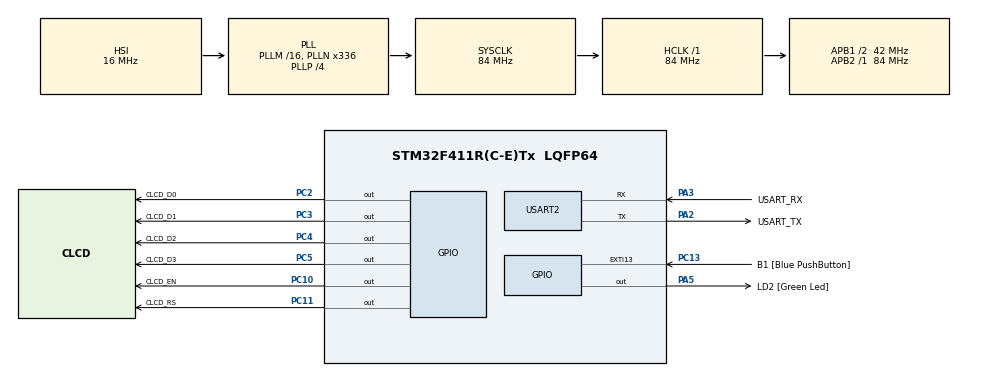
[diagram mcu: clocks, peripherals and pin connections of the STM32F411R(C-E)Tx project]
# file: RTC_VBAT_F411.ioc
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Mcu.Family=STM32F4
Mcu.Name=STM32F411R(C-E)Tx
Mcu.Package=LQFP64
NVIC.PriorityGroup=NVIC_PRIORITYGROUP_0
PA13.GPIO_Label=TMS
PA13.Mode=Serial_Wire
PA13.Signal=SYS_JTMS-SWDIO
PA14.GPIO_Label=TCK
PA14.Mode=Serial_Wire
PA14.Signal=SYS_JTCK-SWCLK
PA2.GPIO_Label=USART_TX
PA2.Mode=Asynchronous
PA2.Signal=USART2_TX
PA3.GPIO_Label=USART_RX
PA3.Mode=Asynchronous
PA3.Signal=USART2_RX
PA5.GPIO_Label=LD2 [Green Led]
PA5.Signal=GPIO_Output
PB3.GPIO_Label=SWO
PB3.Signal=SYS_JTDO-SWO
PC10.GPIO_Label=CLCD_EN
PC10.Signal=GPIO_Output
PC11.GPIO_Label=CLCD_RS
PC11.Signal=GPIO_Output
PC13-ANTI_TAMP.GPIO_Label=B1 [Blue PushButton]
PC13-ANTI_TAMP.GPIO_ModeDefaultEXTI=GPIO_MODE_IT_FALLING
PC13-ANTI_TAMP.Signal=GPXTI13
PC14-OSC32_IN.Mode=LSE-External-Oscillator
PC14-OSC32_IN.Signal=RCC_OSC32_IN
PC15-OSC32_OUT.Mode=LSE-External-Oscillator
PC15-OSC32_OUT.Signal=RCC_OSC32_OUT
PC2.GPIO_Label=CLCD_D0
PC2.Signal=GPIO_Output
PC3.GPIO_Label=CLCD_D1
PC3.Signal=GPIO_Output
PC4.GPIO_Label=CLCD_D2
PC4.Signal=GPIO_Output
PC5.GPIO_Label=CLCD_D3
PC5.Signal=GPIO_Output
PH0\ -\ OSC_IN.Signal=RCC_OSC_IN
PH1\ -\ OSC_OUT.Signal=RCC_OSC_OUT
ProjectManager.HeapSize=0x200
ProjectManager.StackSize=0x400
ProjectManager.TargetToolchain=STM32CubeIDE
RCC.48MHZClocksFreq_Value=84000000
RCC.AHBFreq_Value=84000000
RCC.APB1CLKDivider=RCC_HCLK_DIV2
RCC.APB1Freq_Value=42000000
RCC.APB1TimFreq_Value=84000000
RCC.APB2Freq_Value=84000000
RCC.APB2TimFreq_Value=84000000
RCC.CortexFreq_Value=84000000
RCC.FLatency-AdvancedSettings=FLASH_LATENCY_2
RCC.HCLKFreq_Value=84000000
RCC.HSE_VALUE=8000000
RCC.HSI_VALUE=16000000
RCC.PLLN=336
RCC.PLLP=RCC_PLLP_DIV4
RCC.RCC_RTC_Clock_Source=RCC_RTCCLKSOURCE_LSE
RCC.SYSCLKFreq_VALUE=84000000
RCC.SYSCLKSource=RCC_SYSCLKSOURCE_PLLCLK
RCC.VCOOutputFreq_Value=336000000
RTC.Date=22
RTC.Month=RTC_MONTH_DECEMBER
RTC.WeekDay=RTC_WEEKDAY_TUESDAY
RTC.Year=20
USART2.VirtualMode=VM_ASYNC
VP_RTC_VS_RTC_Activate.Mode=RTC_Enabled
VP_RTC_VS_RTC_Calendar.Mode=RTC_Calendar
board=NUCLEO-F411RE

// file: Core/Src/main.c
/* USER CODE BEGIN Header */
/**
  ******************************************************************************
  * @file           : main.c
  * @brief          : Main program body
  ******************************************************************************
  * @attention
  *
  * <h2><center>&copy; Copyright (c) 2020 STMicroelectronics.
  * All rights reserved.</center></h2>
  *
  * This software component is licensed by ST under BSD 3-Clause license,
  * the "License"; You may not use this file except in compliance with the
  * License. You may obtain a copy of the License at:
  *                        opensource.org/licenses/BSD-3-Clause
  *
  ******************************************************************************
  */
/* USER CODE END Header */
#include "main.h"

/* USER CODE BEGIN Includes */
#include <stdio.h>
#include <string.h>
#include "clcd/clcd.h"
/* USER CODE END Includes */

/* USER CODE BEGIN PM */
#define RTC_BKP_DR1_VALUE   0x32F2
/* USER CODE END PM */

RTC_HandleTypeDef hrtc;

UART_HandleTypeDef huart2;

/* USER CODE BEGIN PV */
char gLCDBuf1[17];
char gLCDBuf2[17];
/* USER CODE END PV */

void SystemClock_Config(void);
static void MX_GPIO_Init(void);
static void MX_USART2_UART_Init(void);
static void MX_RTC_Init(void);
/* USER CODE BEGIN PFP */

/**
  * @brief  Display the current date and time.
  * @param  showtime : pointer to buffer
  * @retval None
  */
static void
RTC_TimeShow (char *datetime, char *showtime)
{
  RTC_DateTypeDef sdatestructureget;
  RTC_TimeTypeDef stimestructureget;

  /* Get the RTC current Time */
  HAL_RTC_GetTime (&hrtc, &stimestructureget, RTC_FORMAT_BIN);
  /* Get the RTC current Date */
  HAL_RTC_GetDate (&hrtc, &sdatestructureget, RTC_FORMAT_BIN);
  /* Display time Format : MM/dd hh:mm:ss */
  sprintf (datetime, "%04d", sdatestructureget.Year + 2000);
  sprintf (showtime, "%02d/%02d   %02d:%02d:%02d", sdatestructureget.Month, sdatestructureget.Date,
           stimestructureget.Hours, stimestructureget.Minutes, stimestructureget.Seconds);
}
/* USER CODE END PFP */

/* USER CODE BEGIN 0 */
#ifdef __GNUC__
#define PUTCHAR_PROTOTYPE int __io_putchar(int ch)
#else
#define PUTCHAR_PROTOTYPE int fputc(int ch, FILE *f)
#endif /* __GNUC__ */

/**
  * @brief  Retargets the C library printf function to the USART.
  * @param  None
  * @retval None
  */
PUTCHAR_PROTOTYPE
{
  /* Place your implementation of fputc here */
  /* e.g. write a character to the UART2 and Loop until the end of transmission */
  if(ch == '\n')
    HAL_UART_Transmit(&huart2, (uint8_t *)"\r", 1, 0xFFFF);
  HAL_UART_Transmit(&huart2, (uint8_t *)&ch, 1, 0xFFFF);

  return ch;
}

/* USER CODE END 0 */

int main(void)
{

  /* MCU Configuration--------------------------------------------------------*/

  /* Reset of all peripherals, Initializes the Flash interface and the Systick. */
  HAL_Init();

  /* Configure the system clock */
  SystemClock_Config();

  /* Initialize all configured peripherals */
  MX_GPIO_Init();
  MX_USART2_UART_Init();
  MX_RTC_Init();
  /* USER CODE BEGIN 2 */
  printf ("NUCLEO_F411RE RTC P/G\n");
  printf ("SYSCLK Frequency = %d\n", HAL_RCC_GetSysClockFreq());
  printf ("HCLK   Frequency = %d\n", HAL_RCC_GetHCLKFreq());
  printf ("PCLK   Frequency = %d\n", HAL_RCC_GetPCLK1Freq());
  /* USER CODE END 2 */

  /* Infinite loop */
  /* USER CODE BEGIN WHILE */
  /* LCD Initialize */
  CLCD_Init(16, 2);

  /* Check if the Power On Reset flag is set */
  if (__HAL_RCC_GET_FLAG(RCC_FLAG_PORRST) != RESET)
    {
      /* Power on reset occurred */
      printf("Power on reset occurred\n");
    }
  /* Check if Pin Reset flag is set */
  if (__HAL_RCC_GET_FLAG(RCC_FLAG_PINRST) != RESET)
    {
      /* External reset occurred */
      printf("External reset occurred\n");
    }

  /* Clear source Reset Flag */
  __HAL_RCC_CLEAR_RESET_FLAGS();

  while (1)
  {
      RTC_TimeShow(gLCDBuf1, gLCDBuf2);
      CLCD_Puts(0, 0, gLCDBuf1);
      CLCD_Puts(0, 1, gLCDBuf2);
      printf("%s\n", gLCDBuf1);
      printf("%s\n", gLCDBuf2);

    /* USER CODE END WHILE */

    /* USER CODE BEGIN 3 */
      HAL_Delay(1000);
      HAL_GPIO_TogglePin(LD2_GPIO_Port, LD2_Pin);
  }
  /* USER CODE END 3 */
}

void SystemClock_Config(void)
{
  RCC_OscInitTypeDef RCC_OscInitStruct = {0};
  RCC_ClkInitTypeDef RCC_ClkInitStruct = {0};
  RCC_PeriphCLKInitTypeDef PeriphClkInitStruct = {0};

  /** Configure the main internal regulator output voltage
  */
  __HAL_RCC_PWR_CLK_ENABLE();
  __HAL_PWR_VOLTAGESCALING_CONFIG(PWR_REGULATOR_VOLTAGE_SCALE1);
  /** Initializes the RCC Oscillators according to the specified parameters
  * in the RCC_OscInitTypeDef structure.
  */
  RCC_OscInitStruct.OscillatorType = RCC_OSCILLATORTYPE_HSI|RCC_OSCILLATORTYPE_LSE;
  RCC_OscInitStruct.LSEState = RCC_LSE_ON;
  RCC_OscInitStruct.HSIState = RCC_HSI_ON;
  RCC_OscInitStruct.HSICalibrationValue = RCC_HSICALIBRATION_DEFAULT;
  RCC_OscInitStruct.PLL.PLLState = RCC_PLL_ON;
  RCC_OscInitStruct.PLL.PLLSource = RCC_PLLSOURCE_HSI;
  RCC_OscInitStruct.PLL.PLLM = 16;
  RCC_OscInitStruct.PLL.PLLN = 336;
  RCC_OscInitStruct.PLL.PLLP = RCC_PLLP_DIV4;
  RCC_OscInitStruct.PLL.PLLQ = 4;
  if (HAL_RCC_OscConfig(&RCC_OscInitStruct) != HAL_OK)
  {
    Error_Handler();
  }
  /** Initializes the CPU, AHB and APB buses clocks
  */
  RCC_ClkInitStruct.ClockType = RCC_CLOCKTYPE_HCLK|RCC_CLOCKTYPE_SYSCLK
                              |RCC_CLOCKTYPE_PCLK1|RCC_CLOCKTYPE_PCLK2;
  RCC_ClkInitStruct.SYSCLKSource = RCC_SYSCLKSOURCE_PLLCLK;
  RCC_ClkInitStruct.AHBCLKDivider = RCC_SYSCLK_DIV1;
  RCC_ClkInitStruct.APB1CLKDivider = RCC_HCLK_DIV2;
  RCC_ClkInitStruct.APB2CLKDivider = RCC_HCLK_DIV1;

  if (HAL_RCC_ClockConfig(&RCC_ClkInitStruct, FLASH_LATENCY_2) != HAL_OK)
  {
    Error_Handler();
  }
  PeriphClkInitStruct.PeriphClockSelection = RCC_PERIPHCLK_RTC;
  PeriphClkInitStruct.RTCClockSelection = RCC_RTCCLKSOURCE_LSE;
  if (HAL_RCCEx_PeriphCLKConfig(&PeriphClkInitStruct) != HAL_OK)
  {
    Error_Handler();
  }
}

static void MX_RTC_Init(void)
{

  RTC_TimeTypeDef sTime = {0};
  RTC_DateTypeDef sDate = {0};

  /** Initialize RTC Only
  */
  hrtc.Instance = RTC;
  hrtc.Init.HourFormat = RTC_HOURFORMAT_24;
  hrtc.Init.AsynchPrediv = 127;
  hrtc.Init.SynchPrediv = 255;
  hrtc.Init.OutPut = RTC_OUTPUT_DISABLE;
  hrtc.Init.OutPutPolarity = RTC_OUTPUT_POLARITY_HIGH;
  hrtc.Init.OutPutType = RTC_OUTPUT_TYPE_OPENDRAIN;
  if (HAL_RTC_Init(&hrtc) != HAL_OK)
  {
    Error_Handler();
  }

  /* USER CODE BEGIN Check_RTC_BKUP */
  if (HAL_RTCEx_BKUPRead(&hrtc, RTC_BKP_DR1) == RTC_BKP_DR1_VALUE)
    {
      return;
    }
  else
    {
      HAL_RTCEx_BKUPWrite(&hrtc, RTC_BKP_DR1, RTC_BKP_DR1_VALUE);
    }

  /* USER CODE END Check_RTC_BKUP */

  /** Initialize RTC and set the Time and Date
  */
  sTime.Hours = 0x0;
  sTime.Minutes = 0x0;
  sTime.Seconds = 0x0;
  sTime.DayLightSaving = RTC_DAYLIGHTSAVING_NONE;
  sTime.StoreOperation = RTC_STOREOPERATION_RESET;
  if (HAL_RTC_SetTime(&hrtc, &sTime, RTC_FORMAT_BCD) != HAL_OK)
  {
    Error_Handler();
  }
  sDate.WeekDay = RTC_WEEKDAY_TUESDAY;
  sDate.Month = RTC_MONTH_DECEMBER;
  sDate.Date = 0x22;
  sDate.Year = 0x20;

  if (HAL_RTC_SetDate(&hrtc, &sDate, RTC_FORMAT_BCD) != HAL_OK)
  {
    Error_Handler();
  }

}

static void MX_USART2_UART_Init(void)
{

  huart2.Instance = USART2;
  huart2.Init.BaudRate = 115200;
  huart2.Init.WordLength = UART_WORDLENGTH_8B;
  huart2.Init.StopBits = UART_STOPBITS_1;
  huart2.Init.Parity = UART_PARITY_NONE;
  huart2.Init.Mode = UART_MODE_TX_RX;
  huart2.Init.HwFlowCtl = UART_HWCONTROL_NONE;
  huart2.Init.OverSampling = UART_OVERSAMPLING_16;
  if (HAL_UART_Init(&huart2) != HAL_OK)
  {
    Error_Handler();
  }

}

static void MX_GPIO_Init(void)
{
  GPIO_InitTypeDef GPIO_InitStruct = {0};

  /* GPIO Ports Clock Enable */
  __HAL_RCC_GPIOC_CLK_ENABLE();
  __HAL_RCC_GPIOH_CLK_ENABLE();
  __HAL_RCC_GPIOA_CLK_ENABLE();
  __HAL_RCC_GPIOB_CLK_ENABLE();

  /*Configure GPIO pin Output Level */
  HAL_GPIO_WritePin(GPIOC, CLCD_D0_Pin|CLCD_D1_Pin|CLCD_D2_Pin|CLCD_D3_Pin
                          |CLCD_EN_Pin|CLCD_RS_Pin, GPIO_PIN_RESET);

  /*Configure GPIO pin Output Level */
  HAL_GPIO_WritePin(LD2_GPIO_Port, LD2_Pin, GPIO_PIN_RESET);

  /*Configure GPIO pin : B1_Pin */
  GPIO_InitStruct.Pin = B1_Pin;
  GPIO_InitStruct.Mode = GPIO_MODE_IT_FALLING;
  GPIO_InitStruct.Pull = GPIO_NOPULL;
  HAL_GPIO_Init(B1_GPIO_Port, &GPIO_InitStruct);

  /*Configure GPIO pins : CLCD_D0_Pin CLCD_D1_Pin CLCD_D2_Pin CLCD_D3_Pin
                           CLCD_EN_Pin CLCD_RS_Pin */
  GPIO_InitStruct.Pin = CLCD_D0_Pin|CLCD_D1_Pin|CLCD_D2_Pin|CLCD_D3_Pin
                          |CLCD_EN_Pin|CLCD_RS_Pin;
  GPIO_InitStruct.Mode = GPIO_MODE_OUTPUT_PP;
  GPIO_InitStruct.Pull = GPIO_NOPULL;
  GPIO_InitStruct.Speed = GPIO_SPEED_FREQ_LOW;
  HAL_GPIO_Init(GPIOC, &GPIO_InitStruct);

  /*Configure GPIO pin : LD2_Pin */
  GPIO_InitStruct.Pin = LD2_Pin;
  GPIO_InitStruct.Mode = GPIO_MODE_OUTPUT_PP;
  GPIO_InitStruct.Pull = GPIO_NOPULL;
  GPIO_InitStruct.Speed = GPIO_SPEED_FREQ_LOW;
  HAL_GPIO_Init(LD2_GPIO_Port, &GPIO_InitStruct);

}

void Error_Handler(void)
{
  __disable_irq();
  while (1)
  {
  }
}

/************************ (C) COPYRIGHT STMicroelectronics *****END OF FILE****/
